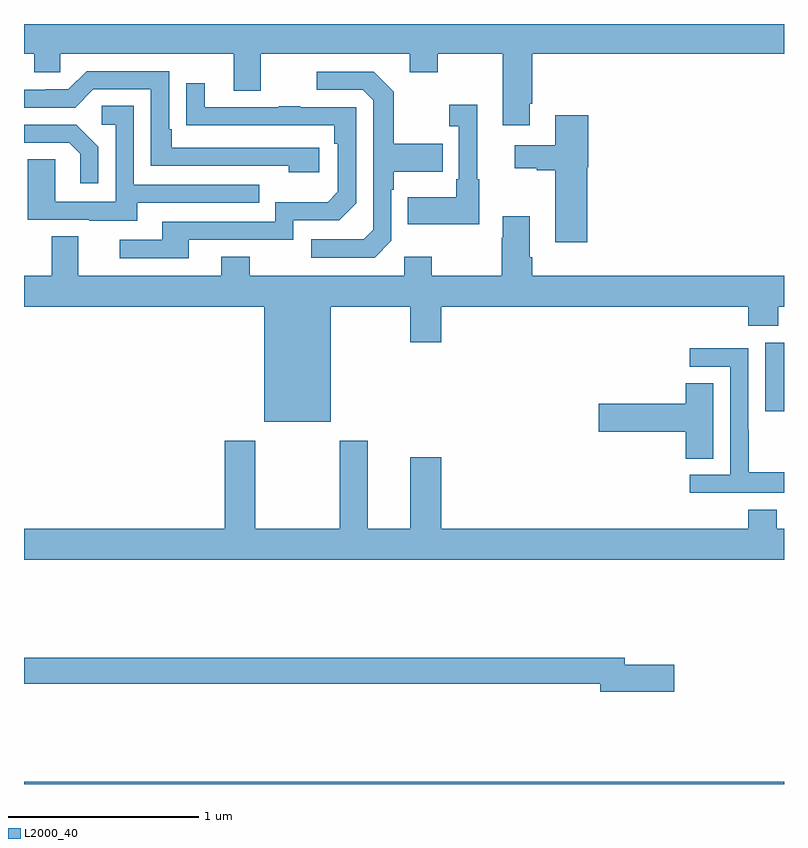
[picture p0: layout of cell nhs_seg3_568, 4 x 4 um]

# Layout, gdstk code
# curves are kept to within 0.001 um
import gdstk
lib = gdstk.Library(unit=1e-6, precision=1e-09)
def R(c, l, rs):  # rectangles x0, y0, x1, y1
    for r in rs: c.add(gdstk.rectangle(r[:2], r[2:], *l))
def P(c, l, *ps):  # polygons
    for p in ps: c.add(gdstk.Polygon(p, *l))
L2000_40 = (2000, 40)

nhs_seg3_568 = lib.new_cell('nhs_seg3_568')
R(nhs_seg3_568, L2000_40, [(139,702.4,143,702.412), (142.901,704.361,143,704.722)])
P(nhs_seg3_568, L2000_40, [(141.661,705.979),(141.674,705.979),(141.674,706.244),(143,706.244),(143,706.4),(139,706.4),(139,706.244),(139.053,706.244),(139.053,706.146),(139.191,706.146),(139.191,706.244),(140.105,706.244),(140.105,706.05),(140.245,706.05),(140.245,706.244),(141.029,706.244),(141.029,706.145),(141.177,706.145),(141.177,706.244),(141.521,706.244),(141.521,705.867),(141.661,705.867)],
  [(140.554,705.75),(139.777,705.75),(139.777,705.847),(139.764,705.847),(139.764,706.152),(139.329,706.152),(139.233,706.056),(139.115,706.056),(139.115,706.053),(139,706.053),(139,705.96),(139.269,705.96),(139.365,706.056),(139.668,706.056),(139.668,705.654),(140.393,705.654),(140.393,705.62),(140.554,705.62)],
  [(140.934,705.258),(140.934,705.527),(140.947,705.527),(140.947,705.623),(141.203,705.623),(141.203,705.771),(140.947,705.771),(140.947,706.043),(140.841,706.149),(140.541,706.149),(140.541,706.053),(140.784,706.053),(140.838,705.999),(140.838,705.318),(140.787,705.267),(140.511,705.267),(140.511,705.171),(140.847,705.171)],
  [(139.867,705.264),(140.418,705.264),(140.418,705.366),(140.658,705.366),(140.748,705.456),(140.748,705.963),(140.453,705.963),(140.453,705.968),(140.341,705.968),(140.341,705.963),(139.951,705.963),(139.951,706.087),(139.855,706.087),(139.855,705.868),(140.632,705.867),(140.632,705.77),(140.652,705.77),(140.652,705.516),(140.599,705.463),(140.322,705.463),(140.322,705.36),(139.727,705.36),(139.727,705.264),(139.503,705.264),(139.503,705.168),(139.867,705.168)],
  [(141.397,705.583),(141.386,705.583),(141.386,705.976),(141.237,705.976),(141.237,705.863),(141.288,705.863),(141.288,705.583),(141.276,705.583),(141.276,705.487),(141.019,705.487),(141.019,705.347),(141.397,705.347)],
  [(139.597,705.459),(140.237,705.459),(140.237,705.555),(139.578,705.555),(139.578,705.971),(139.41,705.971),(139.41,705.87),(139.482,705.87),(139.482,705.465),(139.164,705.465),(139.164,705.689),(139.019,705.689),(139.019,705.369),(139.343,705.369),(139.343,705.365),(139.597,705.365)],
  [(141.965,705.645),(141.97,705.645),(141.97,705.919),(141.797,705.919),(141.797,705.763),(141.582,705.763),(141.582,705.641),(141.698,705.641),(141.698,705.629),(141.797,705.629),(141.797,705.252),(141.965,705.252)],
  [(139.392,705.754),(139.276,705.87),(139,705.87),(139,705.774),(139.238,705.774),(139.295,705.717),(139.295,705.561),(139.392,705.561)],
  [(140.614,704.912),(141.032,704.912),(141.032,704.724),(141.196,704.724),(141.196,704.912),(142.811,704.912),(142.811,704.813),(142.971,704.813),(142.971,704.912),(143,704.912),(143,705.076),(141.674,705.076),(141.674,705.172),(141.661,705.172),(141.661,705.388),(141.521,705.388),(141.521,705.275),(141.514,705.275),(141.514,705.076),(141.147,705.076),(141.147,705.175),(141,705.175),(141,705.076),(140.187,705.076),(140.187,705.175),(140.039,705.175),(140.039,705.076),(139.285,705.076),(139.285,705.284),(139.145,705.284),(139.145,705.076),(139,705.076),(139,704.912),(140.264,704.912),(140.264,704.306),(140.614,704.306)],
  [(143,704.041),(142.815,704.041),(142.815,704.264),(142.812,704.264),(142.812,704.694),(142.503,704.694),(142.503,704.595),(142.716,704.595),(142.716,704.028),(142.503,704.028),(142.503,703.932),(143,703.932)],
  [(142.627,704.51),(142.484,704.51),(142.484,704.402),(142.026,704.402),(142.026,704.255),(142.484,704.255),(142.484,704.113),(142.627,704.113)],
  [(143,703.744),(142.963,703.744),(142.963,703.843),(142.811,703.843),(142.811,703.744),(141.196,703.744),(141.196,704.119),(141.032,704.119),(141.032,703.744),(140.809,703.744),(140.809,704.206),(140.662,704.206),(140.662,703.744),(140.217,703.744),(140.217,704.206),(140.057,704.206),(140.057,703.744),(139,703.744),(139,703.58),(143,703.58)],
  [(142.423,703.028),(142.162,703.028),(142.162,703.064),(139,703.064),(139,702.928),(142.034,702.928),(142.034,702.886),(142.423,702.886)])

lib.write_gds('nhs_seg3_568.gds')
